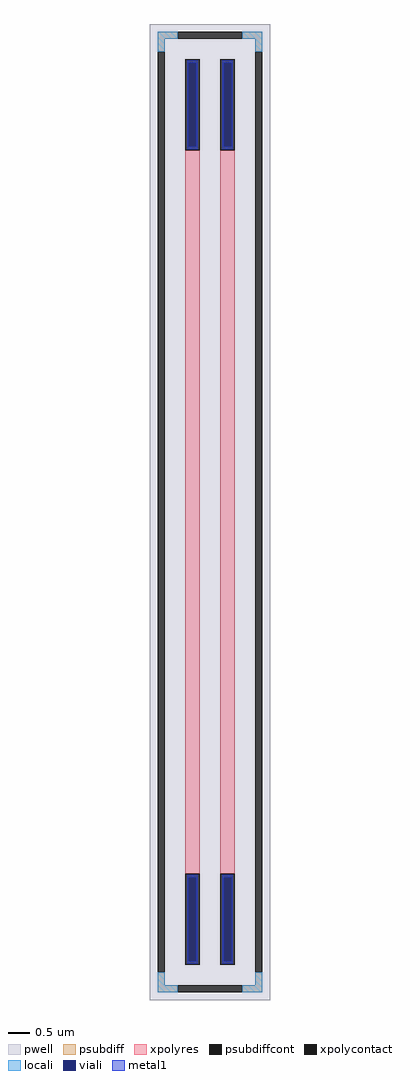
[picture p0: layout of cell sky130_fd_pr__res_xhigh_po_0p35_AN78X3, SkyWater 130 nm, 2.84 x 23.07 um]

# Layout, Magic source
magic
tech sky130A
magscale 1 2
<< pwell >>
rect -284 -2307 284 2307
<< psubdiff >>
rect -248 2237 -152 2271
rect 152 2237 248 2271
rect -248 2175 -214 2237
rect 214 2175 248 2237
rect -248 -2237 -214 -2175
rect 214 -2237 248 -2175
rect -248 -2271 -152 -2237
rect 152 -2271 248 -2237
<< psubdiffcont >>
rect -152 2237 152 2271
rect -248 -2175 -214 2175
rect 214 -2175 248 2175
rect -152 -2271 152 -2237
<< xpolycontact >>
rect -118 1709 -48 2141
rect -118 -2141 -48 -1709
rect 48 1709 118 2141
rect 48 -2141 118 -1709
<< xpolyres >>
rect -118 -1709 -48 1709
rect 48 -1709 118 1709
<< locali >>
rect -248 2237 -152 2271
rect 152 2237 248 2271
rect -248 2175 -214 2237
rect 214 2175 248 2237
rect -248 -2237 -214 -2175
rect 214 -2237 248 -2175
rect -248 -2271 -152 -2237
rect 152 -2271 248 -2237
<< viali >>
rect -102 1726 -64 2123
rect 64 1726 102 2123
rect -102 -2123 -64 -1726
rect 64 -2123 102 -1726
<< metal1 >>
rect -108 2123 -58 2135
rect -108 1726 -102 2123
rect -64 1726 -58 2123
rect -108 1714 -58 1726
rect 58 2123 108 2135
rect 58 1726 64 2123
rect 102 1726 108 2123
rect 58 1714 108 1726
rect -108 -1726 -58 -1714
rect -108 -2123 -102 -1726
rect -64 -2123 -58 -1726
rect -108 -2135 -58 -2123
rect 58 -1726 108 -1714
rect 58 -2123 64 -1726
rect 102 -2123 108 -1726
rect 58 -2135 108 -2123
<< properties >>
string FIXED_BBOX -231 -2254 231 2254
string gencell sky130_fd_pr__res_xhigh_po_0p35
string library sky130
string parameters w 0.350 l 17.25 m 1 nx 2 wmin 0.350 lmin 0.50 class resistor rho 2000 val 99.646k dummy 0 dw 0.0 term 188.2 sterm 0.0 caplen 0 wmax 0.350 guard 1 glc 1 grc 1 gtc 1 gbc 1 compatible {sky130_fd_pr__res_xhigh_po_0p35  sky130_fd_pr__res_xhigh_po_0p69 sky130_fd_pr__res_xhigh_po_1p41  sky130_fd_pr__res_xhigh_po_2p85 sky130_fd_pr__res_xhigh_po_5p73} snake 0 full_metal 1 n_guard 0 hv_guard 0 vias 1 viagb 0 viagt 0 viagl 0 viagr 0
<< end >>
